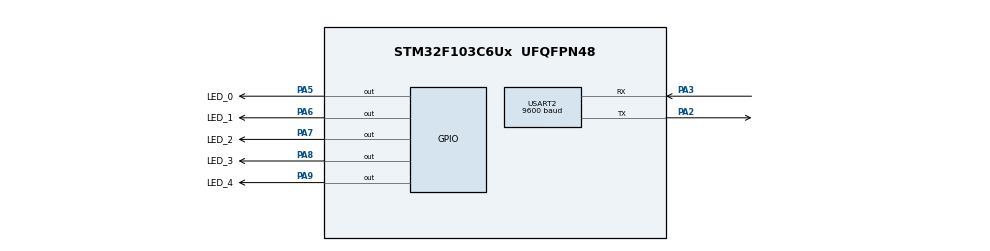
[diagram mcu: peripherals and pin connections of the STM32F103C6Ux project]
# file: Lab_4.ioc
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Mcu.Family=STM32F1
Mcu.Name=STM32F103C6Ux
Mcu.Package=UFQFPN48
NVIC.PriorityGroup=NVIC_PRIORITYGROUP_4
NVIC.TIM2_IRQn=true\:0\:0\:false\:false\:true\:true\:true\:true
NVIC.USART2_IRQn=true\:0\:0\:false\:false\:true\:true\:true\:true
PA2.Mode=Asynchronous
PA2.Signal=USART2_TX
PA3.Mode=Asynchronous
PA3.Signal=USART2_RX
PA5.GPIO_Label=LED_0
PA5.Signal=GPIO_Output
PA6.GPIO_Label=LED_1
PA6.Signal=GPIO_Output
PA7.GPIO_Label=LED_2
PA7.Signal=GPIO_Output
PA8.GPIO_Label=LED_3
PA8.Signal=GPIO_Output
PA9.GPIO_Label=LED_4
PA9.Signal=GPIO_Output
ProjectManager.HeapSize=0x200
ProjectManager.StackSize=0x400
ProjectManager.TargetToolchain=STM32CubeIDE
RCC.APB1Freq_Value=8000000
RCC.APB2Freq_Value=8000000
TIM2.Period=9
TIM2.Prescaler=7999
USART2.BaudRate=9600
USART2.VirtualMode=VM_ASYNC
VP_TIM2_VS_ClockSourceINT.Mode=Internal
board=custom

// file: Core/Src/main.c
/* USER CODE BEGIN Header */
/**
  ******************************************************************************
  * @file           : main.c
  * @brief          : Main program body
  ******************************************************************************
  * @attention
  *
  * Copyright (c) 2022 STMicroelectronics.
  * All rights reserved.
  *
  * This software is licensed under terms that can be found in the LICENSE file
  * in the root directory of this software component.
  * If no LICENSE file comes with this software, it is provided AS-IS.
  *
  ******************************************************************************
  */
/* USER CODE END Header */
#include "main.h"

/* USER CODE BEGIN Includes */
#include "stdio.h"
#include "led_control.h"
#include "timer.h"
#include "scheduler.h"
/* USER CODE END Includes */

TIM_HandleTypeDef htim2;

UART_HandleTypeDef huart2;

void SystemClock_Config(void);
static void MX_GPIO_Init(void);
static void MX_TIM2_Init(void);
static void MX_USART2_UART_Init(void);
/* USER CODE BEGIN PFP */
void uart_send_time(void);
/* USER CODE END PFP */

int main(void)
{

  /* MCU Configuration--------------------------------------------------------*/

  /* Reset of all peripherals, Initializes the Flash interface and the Systick. */
  HAL_Init();

  /* Configure the system clock */
  SystemClock_Config();

  /* Initialize all configured peripherals */
  MX_GPIO_Init();
  MX_TIM2_Init();
  MX_USART2_UART_Init();
  /* USER CODE BEGIN 2 */
  HAL_TIM_Base_Start_IT(&htim2);

  SCH_Add_Task(uart_send_time, 0, 50);	//sending time every 500ms
  SCH_Add_Task(ToggleLed_0, 0, 50);		//500ms
  SCH_Add_Task(ToggleLed_1, 0, 100);	//1000ms
  SCH_Add_Task(ToggleLed_2, 0, 150);	//1500ms
  SCH_Add_Task(ToggleLed_3, 0, 200);	//2000ms
  SCH_Add_Task(ToggleLed_4, 0, 250);	//2500ms
  /* USER CODE END 2 */

  /* Infinite loop */
  /* USER CODE BEGIN WHILE */
  while (1)
  {
	  SCH_Dispatch_Tasks();
    /* USER CODE END WHILE */

  }
}

void SystemClock_Config(void)
{
  RCC_OscInitTypeDef RCC_OscInitStruct = {0};
  RCC_ClkInitTypeDef RCC_ClkInitStruct = {0};

  /** Initializes the RCC Oscillators according to the specified parameters
  * in the RCC_OscInitTypeDef structure.
  */
  RCC_OscInitStruct.OscillatorType = RCC_OSCILLATORTYPE_HSI;
  RCC_OscInitStruct.HSIState = RCC_HSI_ON;
  RCC_OscInitStruct.HSICalibrationValue = RCC_HSICALIBRATION_DEFAULT;
  RCC_OscInitStruct.PLL.PLLState = RCC_PLL_NONE;
  if (HAL_RCC_OscConfig(&RCC_OscInitStruct) != HAL_OK)
  {
    Error_Handler();
  }

  /** Initializes the CPU, AHB and APB buses clocks
  */
  RCC_ClkInitStruct.ClockType = RCC_CLOCKTYPE_HCLK|RCC_CLOCKTYPE_SYSCLK
                              |RCC_CLOCKTYPE_PCLK1|RCC_CLOCKTYPE_PCLK2;
  RCC_ClkInitStruct.SYSCLKSource = RCC_SYSCLKSOURCE_HSI;
  RCC_ClkInitStruct.AHBCLKDivider = RCC_SYSCLK_DIV1;
  RCC_ClkInitStruct.APB1CLKDivider = RCC_HCLK_DIV1;
  RCC_ClkInitStruct.APB2CLKDivider = RCC_HCLK_DIV1;

  if (HAL_RCC_ClockConfig(&RCC_ClkInitStruct, FLASH_LATENCY_0) != HAL_OK)
  {
    Error_Handler();
  }
}

static void MX_TIM2_Init(void)
{

  TIM_ClockConfigTypeDef sClockSourceConfig = {0};
  TIM_MasterConfigTypeDef sMasterConfig = {0};

  htim2.Instance = TIM2;
  htim2.Init.Prescaler = 7999;
  htim2.Init.CounterMode = TIM_COUNTERMODE_UP;
  htim2.Init.Period = 9;
  htim2.Init.ClockDivision = TIM_CLOCKDIVISION_DIV1;
  htim2.Init.AutoReloadPreload = TIM_AUTORELOAD_PRELOAD_DISABLE;
  if (HAL_TIM_Base_Init(&htim2) != HAL_OK)
  {
    Error_Handler();
  }
  sClockSourceConfig.ClockSource = TIM_CLOCKSOURCE_INTERNAL;
  if (HAL_TIM_ConfigClockSource(&htim2, &sClockSourceConfig) != HAL_OK)
  {
    Error_Handler();
  }
  sMasterConfig.MasterOutputTrigger = TIM_TRGO_RESET;
  sMasterConfig.MasterSlaveMode = TIM_MASTERSLAVEMODE_DISABLE;
  if (HAL_TIMEx_MasterConfigSynchronization(&htim2, &sMasterConfig) != HAL_OK)
  {
    Error_Handler();
  }

}

static void MX_USART2_UART_Init(void)
{

  huart2.Instance = USART2;
  huart2.Init.BaudRate = 9600;
  huart2.Init.WordLength = UART_WORDLENGTH_8B;
  huart2.Init.StopBits = UART_STOPBITS_1;
  huart2.Init.Parity = UART_PARITY_NONE;
  huart2.Init.Mode = UART_MODE_TX_RX;
  huart2.Init.HwFlowCtl = UART_HWCONTROL_NONE;
  huart2.Init.OverSampling = UART_OVERSAMPLING_16;
  if (HAL_UART_Init(&huart2) != HAL_OK)
  {
    Error_Handler();
  }

}

static void MX_GPIO_Init(void)
{
  GPIO_InitTypeDef GPIO_InitStruct = {0};

  /* GPIO Ports Clock Enable */
  __HAL_RCC_GPIOA_CLK_ENABLE();

  /*Configure GPIO pin Output Level */
  HAL_GPIO_WritePin(GPIOA, LED_0_Pin|LED_1_Pin|LED_2_Pin|LED_3_Pin
                          |LED_4_Pin, GPIO_PIN_RESET);

  /*Configure GPIO pins : LED_0_Pin LED_1_Pin LED_2_Pin LED_3_Pin
                           LED_4_Pin */
  GPIO_InitStruct.Pin = LED_0_Pin|LED_1_Pin|LED_2_Pin|LED_3_Pin
                          |LED_4_Pin;
  GPIO_InitStruct.Mode = GPIO_MODE_OUTPUT_PP;
  GPIO_InitStruct.Pull = GPIO_NOPULL;
  GPIO_InitStruct.Speed = GPIO_SPEED_FREQ_LOW;
  HAL_GPIO_Init(GPIOA, &GPIO_InitStruct);

}

/* USER CODE BEGIN 4 */
uint8_t str[50];
uint32_t	time = 0;
void uart_send_time(void){
	HAL_UART_Transmit(&huart2, str, sprintf(str, "Time: %ld \r", time), 100);
	time += 500;
}

/* USER CODE END 4 */

void Error_Handler(void)
{
  __disable_irq();
  while (1)
  {
  }
}
